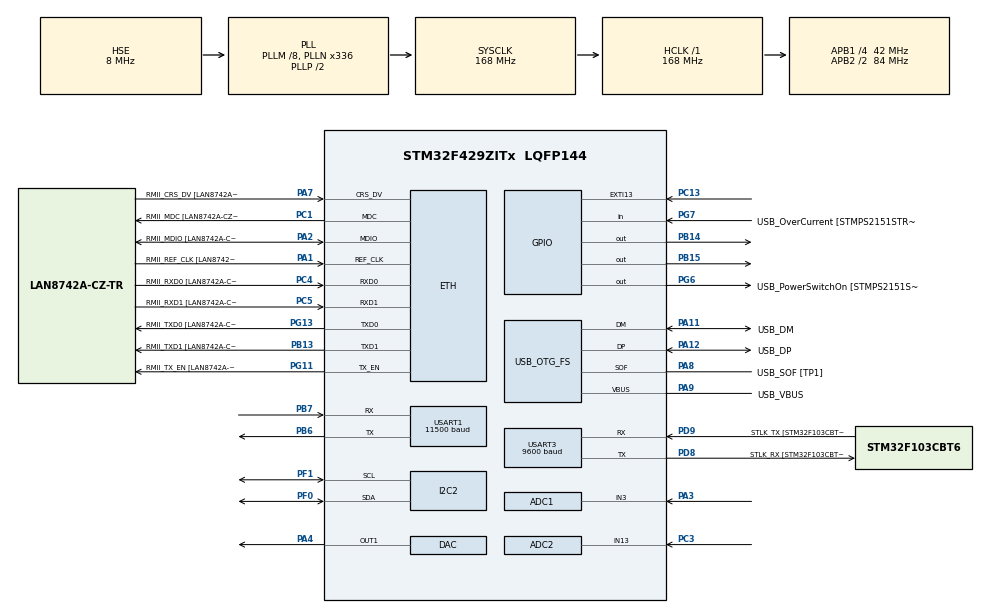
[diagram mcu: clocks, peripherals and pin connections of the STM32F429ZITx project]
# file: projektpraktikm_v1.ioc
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ADC1.Channel-1\#ChannelRegularConversion=ADC_CHANNEL_3
ADC1.ClockPrescaler=ADC_CLOCK_SYNC_PCLK_DIV4
ADC1.NbrOfConversionFlag=1
ADC1.Rank-1\#ChannelRegularConversion=1
ADC1.SamplingTime-1\#ChannelRegularConversion=ADC_SAMPLETIME_3CYCLES
ADC1.master=1
ADC2.Channel-1\#ChannelRegularConversion=ADC_CHANNEL_13
ADC2.NbrOfConversionFlag=1
ADC2.Rank-1\#ChannelRegularConversion=1
ADC2.SamplingTime-1\#ChannelRegularConversion=ADC_SAMPLETIME_3CYCLES
ETH.MediaInterface=HAL_ETH_RMII_MODE
ETH.PHY_Name=LAN8742A_PHY_ADDRESS
ETH.PHY_Value=0
ETH.PhyAddress=0
Mcu.Family=STM32F4
Mcu.Name=STM32F429ZITx
Mcu.Package=LQFP144
NVIC.EXTI15_10_IRQn=true\:1\:0\:true\:false\:true\:true\:true\:true
NVIC.PriorityGroup=NVIC_PRIORITYGROUP_4
PA1.GPIO_Label=RMII_REF_CLK [LAN8742A-CZ-TR_REFCLK0]
PA1.Mode=RMII
PA1.Signal=ETH_REF_CLK
PA10.GPIO_Label=USB_ID
PA10.Signal=USB_OTG_FS_ID
PA11.GPIO_Label=USB_DM
PA11.Mode=Device_Only
PA11.Signal=USB_OTG_FS_DM
PA12.GPIO_Label=USB_DP
PA12.Mode=Device_Only
PA12.Signal=USB_OTG_FS_DP
PA13.GPIO_Label=TMS
PA13.Mode=Serial_Wire
PA13.Signal=SYS_JTMS-SWDIO
PA14.GPIO_Label=TCK
PA14.Mode=Serial_Wire
PA14.Signal=SYS_JTCK-SWCLK
PA2.GPIO_Label=RMII_MDIO [LAN8742A-CZ-TR_MDIO]
PA2.Mode=RMII
PA2.Signal=ETH_MDIO
PA3.Signal=ADCx_IN3
PA4.Signal=COMP_DAC1_group
PA7.GPIO_Label=RMII_CRS_DV [LAN8742A-CZ-TR_CRS_DV]
PA7.Mode=RMII
PA7.Signal=ETH_CRS_DV
PA8.GPIO_Label=USB_SOF [TP1]
PA8.Mode=Activate_SOF_FS
PA8.Signal=USB_OTG_FS_SOF
PA9.GPIO_Label=USB_VBUS
PA9.Mode=Activate_VBUS
PA9.Signal=USB_OTG_FS_VBUS
PB13.GPIO_Label=RMII_TXD1 [LAN8742A-CZ-TR_TXD1]
PB13.Mode=RMII
PB13.Signal=ETH_TXD1
PB14.Signal=GPIO_Output
PB15.Signal=GPIO_Output
PB6.Mode=Asynchronous
PB6.Signal=USART1_TX
PB7.Mode=Asynchronous
PB7.Signal=USART1_RX
PC1.GPIO_Label=RMII_MDC [LAN8742A-CZ-TR_MDC]
PC1.Mode=RMII
PC1.Signal=ETH_MDC
PC13.Signal=GPXTI13
PC14/OSC32_IN.Mode=LSE-External-Oscillator
PC14/OSC32_IN.Signal=RCC_OSC32_IN
PC15/OSC32_OUT.Mode=LSE-External-Oscillator
PC15/OSC32_OUT.Signal=RCC_OSC32_OUT
PC3.Signal=ADCx_IN13
PC4.GPIO_Label=RMII_RXD0 [LAN8742A-CZ-TR_RXD0]
PC4.Mode=RMII
PC4.Signal=ETH_RXD0
PC5.GPIO_Label=RMII_RXD1 [LAN8742A-CZ-TR_RXD1]
PC5.Mode=RMII
PC5.Signal=ETH_RXD1
PD8.GPIO_Label=STLK_RX [STM32F103CBT6_PA3]
PD8.Mode=Asynchronous
PD8.Signal=USART3_TX
PD9.GPIO_Label=STLK_TX [STM32F103CBT6_PA2]
PD9.Mode=Asynchronous
PD9.Signal=USART3_RX
PF0.Mode=I2C
PF0.Signal=I2C2_SDA
PF1.Mode=I2C
PF1.Signal=I2C2_SCL
PG11.GPIO_Label=RMII_TX_EN [LAN8742A-CZ-TR_TXEN]
PG11.Mode=RMII
PG11.Signal=ETH_TX_EN
PG13.GPIO_Label=RMII_TXD0 [LAN8742A-CZ-TR_TXD0]
PG13.Mode=RMII
PG13.Signal=ETH_TXD0
PG6.GPIO_Label=USB_PowerSwitchOn [STMPS2151STR_EN]
PG6.Signal=GPIO_Output
PG7.GPIO_Label=USB_OverCurrent [STMPS2151STR_FAULT]
PG7.Signal=GPIO_Input
PH0/OSC_IN.GPIO_Label=MCO [STM32F103CBT6_PA8]
PH0/OSC_IN.Mode=HSE-External-Oscillator
PH0/OSC_IN.Signal=RCC_OSC_IN
PH1/OSC_OUT.Mode=HSE-External-Oscillator
PH1/OSC_OUT.Signal=RCC_OSC_OUT
ProjectManager.HeapSize=0x200
ProjectManager.StackSize=0x400
ProjectManager.TargetToolchain=STM32CubeIDE
RCC.48MHZClocksFreq_Value=48000000
RCC.AHBFreq_Value=168000000
RCC.APB1CLKDivider=RCC_HCLK_DIV4
RCC.APB1Freq_Value=42000000
RCC.APB1TimFreq_Value=84000000
RCC.APB2CLKDivider=RCC_HCLK_DIV2
RCC.APB2Freq_Value=84000000
RCC.APB2TimFreq_Value=168000000
RCC.CortexFreq_Value=168000000
RCC.HCLKFreq_Value=168000000
RCC.HSE_VALUE=8000000
RCC.HSI_VALUE=16000000
RCC.PLLM=8
RCC.PLLMUL=RCC_PLL_MUL9
RCC.PLLN=336
RCC.PLLQ=7
RCC.PRESCALERUSB=RCC_USBCLKSOURCE_PLL_DIV1_5
RCC.SYSCLKFreq_VALUE=168000000
RCC.SYSCLKSource=RCC_SYSCLKSOURCE_PLLCLK
RCC.SYSCLKSourceVirtual=RCC_SYSCLKSOURCE_PLLCLK
RCC.USBFreq_Value=48000000
RCC.VCOOutputFreq_Value=336000000
SH.ADCx_IN13.0=ADC2_IN13,IN13
SH.ADCx_IN3.0=ADC1_IN3,IN3
SH.COMP_DAC1_group.0=DAC_OUT1,DAC_OUT1
TIM2.AutoReloadPreload=TIM_AUTORELOAD_PRELOAD_DISABLE
TIM2.Period=65535
TIM2.Prescaler=10
USART1.BaudRate=11500
USART1.VirtualMode=VM_ASYNC
USART3.BaudRate=9600
USART3.VirtualMode=VM_ASYNC
USB_OTG_FS.VirtualMode=Device_Only
VP_TIM2_VS_ClockSourceINT.Mode=Internal
board=NUCLEO-F429ZI

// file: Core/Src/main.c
/* USER CODE BEGIN Header */
/**
 ******************************************************************************
 * @file           : main.c
 * @brief          : Main program body
 ******************************************************************************
 * @attention
 *
 * Copyright (c) 2022 STMicroelectronics.
 * All rights reserved.
 *
 * This software is licensed under terms that can be found in the LICENSE file
 * in the root directory of this software component.
 * If no LICENSE file comes with this software, it is provided AS-IS.
 *
 ******************************************************************************
 */
/* USER CODE END Header */
#include "main.h"
#include "string.h"

/* USER CODE BEGIN Includes */
#include <stdio.h>
#include "lcd.h"
#include<math.h>
#include <stdlib.h>

/* USER CODE END Includes */

/* USER CODE BEGIN PTD */
float vol;
float input;
float tau;
double der;
uint16_t raw_vol;
uint16_t raw_input;
uint32_t DAC_OUT[4] = { 0, 1241, 2482, 3723 };
int32_t CH1_DC = 0;
uint8_t i = 0;
char msg1[20];
char msg2[20];
char msg3[20];
char msg4[20];
float mes = 30;
float m_arr[30];
float tau_avr;
float sum=0;
int j = 0;
float tau_i;

/* USER CODE END PTD */

ETH_TxPacketConfig TxConfig;
ETH_DMADescTypeDef DMARxDscrTab[ETH_RX_DESC_CNT]; /* Ethernet Rx DMA Descriptors */
ETH_DMADescTypeDef DMATxDscrTab[ETH_TX_DESC_CNT]; /* Ethernet Tx DMA Descriptors */

ADC_HandleTypeDef hadc1;
ADC_HandleTypeDef hadc2;

DAC_HandleTypeDef hdac;

ETH_HandleTypeDef heth;

I2C_HandleTypeDef hi2c2;

TIM_HandleTypeDef htim2;

UART_HandleTypeDef huart1;
UART_HandleTypeDef huart3;

PCD_HandleTypeDef hpcd_USB_OTG_FS;

/* USER CODE BEGIN PV */
volatile int state = 0;
/* USER CODE END PV */

void SystemClock_Config(void);
static void MX_GPIO_Init(void);
static void MX_ETH_Init(void);
static void MX_USART3_UART_Init(void);
static void MX_USB_OTG_FS_PCD_Init(void);
static void MX_ADC1_Init(void);
static void MX_USART1_UART_Init(void);
static void MX_I2C2_Init(void);
static void MX_ADC2_Init(void);
static void MX_TIM2_Init(void);
static void MX_DAC_Init(void);

int main(void) {

	/* MCU Configuration--------------------------------------------------------*/

	/* Reset of all peripherals, Initializes the Flash interface and the Systick. */
	HAL_Init();

	/* Configure the system clock */
	SystemClock_Config();

	/* Initialize all configured peripherals */
	MX_GPIO_Init();
	MX_ETH_Init();
	MX_USART3_UART_Init();
	MX_USB_OTG_FS_PCD_Init();
	MX_ADC1_Init();
	MX_USART1_UART_Init();
	MX_I2C2_Init();
	MX_ADC2_Init();
	MX_TIM2_Init();
	MX_DAC_Init();
	/* USER CODE BEGIN 2 */
	//initilizieren von Display
	LCD_HandleTypeDef dev;
	dev.i2c = &hi2c2;
	dev.i2c_addr = LCD_DEFAULT_ADDR;
	dev.backlight_enable = 1;
	LCD_Begin(&dev);
	HAL_DAC_Start(&hdac, CH1_DC);
	HAL_TIM_Base_Start(&htim2);

	/* USER CODE END 2 */

	/* Infinite loop */
	while (1) {

		LCD_Clear(&dev);
		if (state == 0) {
			DAC->DHR12R1 = DAC_OUT[0];
			sprintf(msg1, "IDLE");
			//HAL_UART_Transmit(&huart3, (uint8_t*) msg1, strlen(msg1), 300);
			LCD_Print(&dev, msg1);
			LCD_SetCursor(&dev, 0, 0);
		}

		else if (state == 1) {
			DAC->DHR12R1 = DAC_OUT[2];
			HAL_ADC_Start(&hadc1);
			HAL_ADC_Start(&hadc2);
			HAL_ADC_PollForConversion(&hadc1, 100);
			HAL_ADC_PollForConversion(&hadc2, 100);

			raw_vol = HAL_ADC_GetValue(&hadc1);
			raw_input = HAL_ADC_GetValue(&hadc2);

			input = raw_input * (3.3 / 4096);
			vol = raw_vol * (3.3 / 4096);

			m_arr[j]=vol;
			j++;
			sprintf(msg2, "MEASURING");
			LCD_SetCursor(&dev, 0, 0);
			LCD_Print(&dev, msg2);
			HAL_Delay(100);
			if (j >= 30){
				state = 3;
			}

		} else if (state == 2) {
			sprintf(msg3, "MESSURE CANCEL");
			LCD_SetCursor(&dev, 0, 0);
			LCD_Print(&dev, msg3);
			HAL_Delay(3000);
			state = 0;
		} else if (state == 3) {
			for(int i = 0; i <= mes-2; i++){
				tau_i =((m_arr[i+2]-m_arr[i])/0.5);
				if(tau_i < 0){
					tau_i = tau_i*(-1);
				}
				sum = sum+tau_i;
			}
			tau_avr = (sum/28);
			sprintf(msg4, "tau=%.2f", tau_avr);
			LCD_SetCursor(&dev, 0, 0);
			LCD_Print(&dev, msg4);
			HAL_Delay(5000);
			sum = 0;
			state = 0;
		}

	}
}

void SystemClock_Config(void) {
	RCC_OscInitTypeDef RCC_OscInitStruct = { 0 };
	RCC_ClkInitTypeDef RCC_ClkInitStruct = { 0 };

	/** Configure the main internal regulator output voltage
	 */
	__HAL_RCC_PWR_CLK_ENABLE();
	__HAL_PWR_VOLTAGESCALING_CONFIG(PWR_REGULATOR_VOLTAGE_SCALE1);

	/** Initializes the RCC Oscillators according to the specified parameters
	 * in the RCC_OscInitTypeDef structure.
	 */
	RCC_OscInitStruct.OscillatorType = RCC_OSCILLATORTYPE_HSE;
	RCC_OscInitStruct.HSEState = RCC_HSE_ON;
	RCC_OscInitStruct.PLL.PLLState = RCC_PLL_ON;
	RCC_OscInitStruct.PLL.PLLSource = RCC_PLLSOURCE_HSE;
	RCC_OscInitStruct.PLL.PLLM = 8;
	RCC_OscInitStruct.PLL.PLLN = 336;
	RCC_OscInitStruct.PLL.PLLP = RCC_PLLP_DIV2;
	RCC_OscInitStruct.PLL.PLLQ = 7;
	if (HAL_RCC_OscConfig(&RCC_OscInitStruct) != HAL_OK) {
		Error_Handler();
	}

	/** Initializes the CPU, AHB and APB buses clocks
	 */
	RCC_ClkInitStruct.ClockType = RCC_CLOCKTYPE_HCLK | RCC_CLOCKTYPE_SYSCLK
			| RCC_CLOCKTYPE_PCLK1 | RCC_CLOCKTYPE_PCLK2;
	RCC_ClkInitStruct.SYSCLKSource = RCC_SYSCLKSOURCE_PLLCLK;
	RCC_ClkInitStruct.AHBCLKDivider = RCC_SYSCLK_DIV1;
	RCC_ClkInitStruct.APB1CLKDivider = RCC_HCLK_DIV4;
	RCC_ClkInitStruct.APB2CLKDivider = RCC_HCLK_DIV2;

	if (HAL_RCC_ClockConfig(&RCC_ClkInitStruct, FLASH_LATENCY_5) != HAL_OK) {
		Error_Handler();
	}
}

static void MX_ADC1_Init(void) {

	ADC_ChannelConfTypeDef sConfig = { 0 };

	/** Configure the global features of the ADC (Clock, Resolution, Data Alignment and number of conversion)
	 */
	hadc1.Instance = ADC1;
	hadc1.Init.ClockPrescaler = ADC_CLOCK_SYNC_PCLK_DIV4;
	hadc1.Init.Resolution = ADC_RESOLUTION_12B;
	hadc1.Init.ScanConvMode = DISABLE;
	hadc1.Init.ContinuousConvMode = DISABLE;
	hadc1.Init.DiscontinuousConvMode = DISABLE;
	hadc1.Init.ExternalTrigConvEdge = ADC_EXTERNALTRIGCONVEDGE_NONE;
	hadc1.Init.ExternalTrigConv = ADC_SOFTWARE_START;
	hadc1.Init.DataAlign = ADC_DATAALIGN_RIGHT;
	hadc1.Init.NbrOfConversion = 1;
	hadc1.Init.DMAContinuousRequests = DISABLE;
	hadc1.Init.EOCSelection = ADC_EOC_SINGLE_CONV;
	if (HAL_ADC_Init(&hadc1) != HAL_OK) {
		Error_Handler();
	}

	/** Configure for the selected ADC regular channel its corresponding rank in the sequencer and its sample time.
	 */
	sConfig.Channel = ADC_CHANNEL_3;
	sConfig.Rank = 1;
	sConfig.SamplingTime = ADC_SAMPLETIME_3CYCLES;
	if (HAL_ADC_ConfigChannel(&hadc1, &sConfig) != HAL_OK) {
		Error_Handler();
	}

}

static void MX_ADC2_Init(void) {

	ADC_ChannelConfTypeDef sConfig = { 0 };

	/** Configure the global features of the ADC (Clock, Resolution, Data Alignment and number of conversion)
	 */
	hadc2.Instance = ADC2;
	hadc2.Init.ClockPrescaler = ADC_CLOCK_SYNC_PCLK_DIV4;
	hadc2.Init.Resolution = ADC_RESOLUTION_12B;
	hadc2.Init.ScanConvMode = DISABLE;
	hadc2.Init.ContinuousConvMode = DISABLE;
	hadc2.Init.DiscontinuousConvMode = DISABLE;
	hadc2.Init.ExternalTrigConvEdge = ADC_EXTERNALTRIGCONVEDGE_NONE;
	hadc2.Init.ExternalTrigConv = ADC_SOFTWARE_START;
	hadc2.Init.DataAlign = ADC_DATAALIGN_RIGHT;
	hadc2.Init.NbrOfConversion = 1;
	hadc2.Init.DMAContinuousRequests = DISABLE;
	hadc2.Init.EOCSelection = ADC_EOC_SINGLE_CONV;
	if (HAL_ADC_Init(&hadc2) != HAL_OK) {
		Error_Handler();
	}

	/** Configure for the selected ADC regular channel its corresponding rank in the sequencer and its sample time.
	 */
	sConfig.Channel = ADC_CHANNEL_13;
	sConfig.Rank = 1;
	sConfig.SamplingTime = ADC_SAMPLETIME_3CYCLES;
	if (HAL_ADC_ConfigChannel(&hadc2, &sConfig) != HAL_OK) {
		Error_Handler();
	}

}

static void MX_DAC_Init(void) {

	DAC_ChannelConfTypeDef sConfig = { 0 };

	/** DAC Initialization
	 */
	hdac.Instance = DAC;
	if (HAL_DAC_Init(&hdac) != HAL_OK) {
		Error_Handler();
	}

	/** DAC channel OUT1 config
	 */
	sConfig.DAC_Trigger = DAC_TRIGGER_NONE;
	sConfig.DAC_OutputBuffer = DAC_OUTPUTBUFFER_ENABLE;
	if (HAL_DAC_ConfigChannel(&hdac, &sConfig, DAC_CHANNEL_1) != HAL_OK) {
		Error_Handler();
	}

}

static void MX_ETH_Init(void) {

	static uint8_t MACAddr[6];

	heth.Instance = ETH;
	MACAddr[0] = 0x00;
	MACAddr[1] = 0x80;
	MACAddr[2] = 0xE1;
	MACAddr[3] = 0x00;
	MACAddr[4] = 0x00;
	MACAddr[5] = 0x00;
	heth.Init.MACAddr = &MACAddr[0];
	heth.Init.MediaInterface = HAL_ETH_RMII_MODE;
	heth.Init.TxDesc = DMATxDscrTab;
	heth.Init.RxDesc = DMARxDscrTab;
	heth.Init.RxBuffLen = 1524;

	if (HAL_ETH_Init(&heth) != HAL_OK) {
		Error_Handler();
	}

	memset(&TxConfig, 0, sizeof(ETH_TxPacketConfig));
	TxConfig.Attributes = ETH_TX_PACKETS_FEATURES_CSUM
			| ETH_TX_PACKETS_FEATURES_CRCPAD;
	TxConfig.ChecksumCtrl = ETH_CHECKSUM_IPHDR_PAYLOAD_INSERT_PHDR_CALC;
	TxConfig.CRCPadCtrl = ETH_CRC_PAD_INSERT;

}

static void MX_I2C2_Init(void) {

	hi2c2.Instance = I2C2;
	hi2c2.Init.ClockSpeed = 100000;
	hi2c2.Init.DutyCycle = I2C_DUTYCYCLE_2;
	hi2c2.Init.OwnAddress1 = 0;
	hi2c2.Init.AddressingMode = I2C_ADDRESSINGMODE_7BIT;
	hi2c2.Init.DualAddressMode = I2C_DUALADDRESS_DISABLE;
	hi2c2.Init.OwnAddress2 = 0;
	hi2c2.Init.GeneralCallMode = I2C_GENERALCALL_DISABLE;
	hi2c2.Init.NoStretchMode = I2C_NOSTRETCH_DISABLE;
	if (HAL_I2C_Init(&hi2c2) != HAL_OK) {
		Error_Handler();
	}

	/** Configure Analogue filter
	 */
	if (HAL_I2CEx_ConfigAnalogFilter(&hi2c2, I2C_ANALOGFILTER_ENABLE)
			!= HAL_OK) {
		Error_Handler();
	}

	/** Configure Digital filter
	 */
	if (HAL_I2CEx_ConfigDigitalFilter(&hi2c2, 0) != HAL_OK) {
		Error_Handler();
	}

}

static void MX_TIM2_Init(void) {

	TIM_ClockConfigTypeDef sClockSourceConfig = { 0 };
	TIM_MasterConfigTypeDef sMasterConfig = { 0 };

	htim2.Instance = TIM2;
	htim2.Init.Prescaler = 10;
	htim2.Init.CounterMode = TIM_COUNTERMODE_UP;
	htim2.Init.Period = 65535;
	htim2.Init.ClockDivision = TIM_CLOCKDIVISION_DIV1;
	htim2.Init.AutoReloadPreload = TIM_AUTORELOAD_PRELOAD_DISABLE;
	if (HAL_TIM_Base_Init(&htim2) != HAL_OK) {
		Error_Handler();
	}
	sClockSourceConfig.ClockSource = TIM_CLOCKSOURCE_INTERNAL;
	if (HAL_TIM_ConfigClockSource(&htim2, &sClockSourceConfig) != HAL_OK) {
		Error_Handler();
	}
	sMasterConfig.MasterOutputTrigger = TIM_TRGO_RESET;
	sMasterConfig.MasterSlaveMode = TIM_MASTERSLAVEMODE_DISABLE;
	if (HAL_TIMEx_MasterConfigSynchronization(&htim2, &sMasterConfig)
			!= HAL_OK) {
		Error_Handler();
	}

}

static void MX_USART1_UART_Init(void) {

	huart1.Instance = USART1;
	huart1.Init.BaudRate = 11500;
	huart1.Init.WordLength = UART_WORDLENGTH_8B;
	huart1.Init.StopBits = UART_STOPBITS_1;
	huart1.Init.Parity = UART_PARITY_NONE;
	huart1.Init.Mode = UART_MODE_TX_RX;
	huart1.Init.HwFlowCtl = UART_HWCONTROL_NONE;
	huart1.Init.OverSampling = UART_OVERSAMPLING_16;
	if (HAL_UART_Init(&huart1) != HAL_OK) {
		Error_Handler();
	}

}

static void MX_USART3_UART_Init(void) {

	huart3.Instance = USART3;
	huart3.Init.BaudRate = 9600;
	huart3.Init.WordLength = UART_WORDLENGTH_8B;
	huart3.Init.StopBits = UART_STOPBITS_1;
	huart3.Init.Parity = UART_PARITY_NONE;
	huart3.Init.Mode = UART_MODE_TX_RX;
	huart3.Init.HwFlowCtl = UART_HWCONTROL_NONE;
	huart3.Init.OverSampling = UART_OVERSAMPLING_16;
	if (HAL_UART_Init(&huart3) != HAL_OK) {
		Error_Handler();
	}

}

static void MX_USB_OTG_FS_PCD_Init(void) {

	hpcd_USB_OTG_FS.Instance = USB_OTG_FS;
	hpcd_USB_OTG_FS.Init.dev_endpoints = 4;
	hpcd_USB_OTG_FS.Init.speed = PCD_SPEED_FULL;
	hpcd_USB_OTG_FS.Init.dma_enable = DISABLE;
	hpcd_USB_OTG_FS.Init.phy_itface = PCD_PHY_EMBEDDED;
	hpcd_USB_OTG_FS.Init.Sof_enable = ENABLE;
	hpcd_USB_OTG_FS.Init.low_power_enable = DISABLE;
	hpcd_USB_OTG_FS.Init.lpm_enable = DISABLE;
	hpcd_USB_OTG_FS.Init.vbus_sensing_enable = ENABLE;
	hpcd_USB_OTG_FS.Init.use_dedicated_ep1 = DISABLE;
	if (HAL_PCD_Init(&hpcd_USB_OTG_FS) != HAL_OK) {
		Error_Handler();
	}

}

static void MX_GPIO_Init(void) {
	GPIO_InitTypeDef GPIO_InitStruct = { 0 };

	/* GPIO Ports Clock Enable */
	__HAL_RCC_GPIOC_CLK_ENABLE();
	__HAL_RCC_GPIOF_CLK_ENABLE();
	__HAL_RCC_GPIOH_CLK_ENABLE();
	__HAL_RCC_GPIOA_CLK_ENABLE();
	__HAL_RCC_GPIOB_CLK_ENABLE();
	__HAL_RCC_GPIOD_CLK_ENABLE();
	__HAL_RCC_GPIOG_CLK_ENABLE();

	/*Configure GPIO pin Output Level */
	HAL_GPIO_WritePin(GPIOB, GPIO_PIN_14 | GPIO_PIN_15, GPIO_PIN_RESET);

	/*Configure GPIO pin Output Level */
	HAL_GPIO_WritePin(USB_PowerSwitchOn_GPIO_Port, USB_PowerSwitchOn_Pin,
			GPIO_PIN_RESET);

	/*Configure GPIO pin : PC13 */
	GPIO_InitStruct.Pin = GPIO_PIN_13;
	GPIO_InitStruct.Mode = GPIO_MODE_IT_RISING;
	GPIO_InitStruct.Pull = GPIO_NOPULL;
	HAL_GPIO_Init(GPIOC, &GPIO_InitStruct);

	/*Configure GPIO pins : PB14 PB15 */
	GPIO_InitStruct.Pin = GPIO_PIN_14 | GPIO_PIN_15;
	GPIO_InitStruct.Mode = GPIO_MODE_OUTPUT_PP;
	GPIO_InitStruct.Pull = GPIO_NOPULL;
	GPIO_InitStruct.Speed = GPIO_SPEED_FREQ_LOW;
	HAL_GPIO_Init(GPIOB, &GPIO_InitStruct);

	/*Configure GPIO pin : USB_PowerSwitchOn_Pin */
	GPIO_InitStruct.Pin = USB_PowerSwitchOn_Pin;
	GPIO_InitStruct.Mode = GPIO_MODE_OUTPUT_PP;
	GPIO_InitStruct.Pull = GPIO_NOPULL;
	GPIO_InitStruct.Speed = GPIO_SPEED_FREQ_LOW;
	HAL_GPIO_Init(USB_PowerSwitchOn_GPIO_Port, &GPIO_InitStruct);

	/*Configure GPIO pin : USB_OverCurrent_Pin */
	GPIO_InitStruct.Pin = USB_OverCurrent_Pin;
	GPIO_InitStruct.Mode = GPIO_MODE_INPUT;
	GPIO_InitStruct.Pull = GPIO_NOPULL;
	HAL_GPIO_Init(USB_OverCurrent_GPIO_Port, &GPIO_InitStruct);

	/* EXTI interrupt init*/
	HAL_NVIC_SetPriority(EXTI15_10_IRQn, 1, 0);
	HAL_NVIC_EnableIRQ(EXTI15_10_IRQn);

}

/* USER CODE BEGIN 4 */
void HAL_GPIO_EXTI_Callback(uint16_t GPIO_Pin) {
	if (GPIO_Pin == GPIO_PIN_13) {
		if (state == 0)
			state = 1;
		else if (state == 1)
			state = 2;
		else {
			//wird in main gemacht
		}
	}

}

/* USER CODE END 4 */

void Error_Handler(void) {
	__disable_irq();
	while (1) {
	}
}
